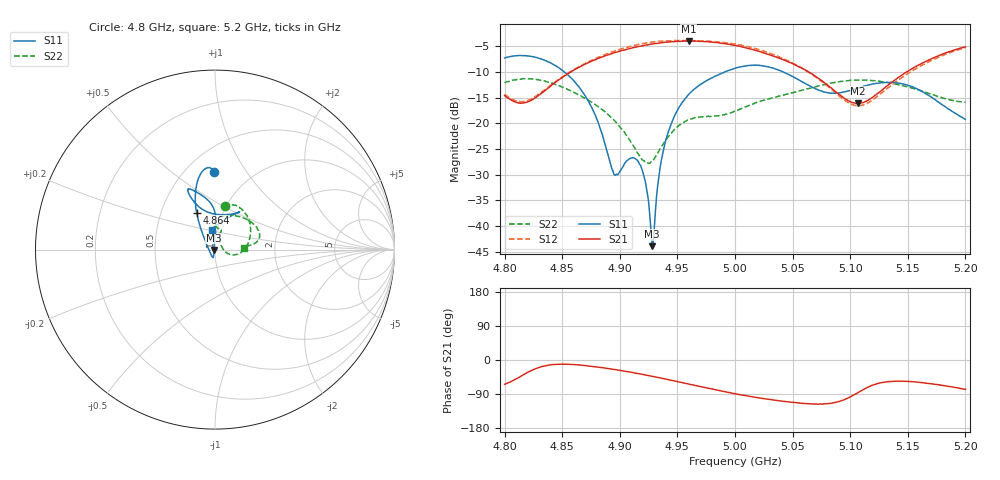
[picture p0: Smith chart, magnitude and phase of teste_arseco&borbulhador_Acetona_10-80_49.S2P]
! Network Analyzer HP8722D
! Hewlett-Packard
! Data name: Linha & Wilkinson
! Saver's name: Rodrigo Anjos
! Comments: Teste da utilização de aquisição
! continua pelo VNA HP8722D
! Time and date: 25/4/2025 15:40
!  Frequency  S11  S21  S12  S22
# HZ  S  MA R 50
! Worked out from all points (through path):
!   401 points, 4.8 GHz to 5.2 GHz, reference 50 ohm
!   highest |S21| = -3.96 dB at 4.96 GHz (marker M1); lowest = -16.1 dB at 5.107 GHz (marker M2)
!   lowest |S11| = -43.9 dB at 4.928 GHz (marker M3), VSWR 1.01, Z = 49.4 - j0.21 ohm
!   |S11| at or under -10 dB: 4.852 GHz to 4.991 GHz (139.1 MHz wide, 2.83 % of centre); 5.042 GHz to end of sweep
!   |S22| runs from -27.8 to -11.3 dB; largest |S21 - S12| = 1.2
!   S11 on the Smith chart (normalised r, x): 4.8 GHz: 0.68, +0.73; 4.864 GHz: 0.75, +0.33; 5.2 GHz: 0.94, +0.20
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4.8e9  0.4335 90.4  0.186 -64.1  0.1912 69.6  0.2479 77.2
4.82e9  0.4533 96.8  0.1618 -32.5  0.1671 98.3  0.2715 61.9
4.844e9  0.3651 106.6  0.2502 -11.8  0.2536 119.2  0.2383 35.8
4.864e9  0.2304 116.4  0.3493 -12.9  0.3531 121.0  0.1898 12.1
4.867e9  0.2073 118.1  0.3634 -14.0  0.3673 120.8  0.1827 8.5
4.88e9  0.1099 128.2  0.4232 -18.4  0.4339 118.4  0.1484 -5.2
4.895e9  0.03168 -172.1  0.4874 -25.0  0.5035 113.7  0.1073 -15.9
4.91e9  0.04597 -104.5  0.5392 -32.6  0.5646 107.2  0.06441 -14.2
4.917e9  0.04012 -101.7  0.562 -36.3  0.5895 103.6  0.04863 -1.7
4.923e9  0.02394 -106.5  0.5787 -39.8  0.6068 100.0  0.04079 19.6
4.928e9  0.006356 -160.4  0.5933 -42.8  0.6176 97.0  0.04317 41.0
4.93e9  0.009857 125.6  0.5976 -44.1  0.622 95.8  0.04562 48.0
4.934e9  0.03099 98.6  0.6052 -46.7  0.6303 93.3  0.05402 58.6
4.944e9  0.09497 90.0  0.6236 -53.1  0.6376 87.0  0.07881 69.9
4.96e9  0.1923 89.6  0.6335 -63.4  0.6389 76.5  0.1087 71.8
5e9  0.3446 109.0  0.5745 -89.0  0.5931 50.8  0.1309 88.9
5.031e9  0.3502 115.0  0.4614 -104.9  0.4789 33.3  0.1752 84.7
5.067e9  0.225 105.1  0.3026 -115.9  0.2994 23.6  0.2226 57.3
5.107e9  0.2215 63.7  0.1562 -85.6  0.1481 57.6  0.2641 24.2
5.134e9  0.2506 56.8  0.2411 -56.9  0.2267 88.7  0.2481 12.4
5.168e9  0.1875 68.7  0.4138 -61.9  0.3968 85.3  0.1959 7.0
5.2e9  0.1094 100.1  0.5565 -77.6  0.5453 70.1  0.1607 3.9
